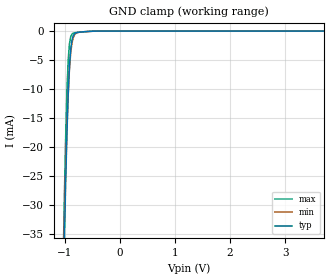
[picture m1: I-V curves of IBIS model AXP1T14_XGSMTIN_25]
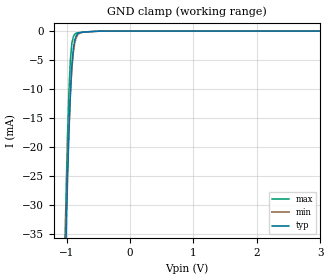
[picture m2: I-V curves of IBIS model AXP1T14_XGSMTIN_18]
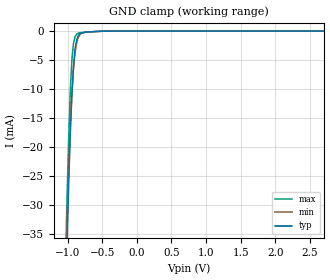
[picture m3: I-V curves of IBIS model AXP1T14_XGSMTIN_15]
| NXP Semiconductors
| Logic Products Group
| IBIS model of 74AXP1T14
| DUAL SUPPLY SCHMITT TRIGGER INVERTER
|[Packages]:
|[Package1]: SC88A  (GW) 5-pins Package
|[Package2]: X2SON5 (GX) 5-pins package
|[Package3]: XSON6  (GM) 6-pins package
|[Package4]: XSON6  (GN) 6-pins Package
|[Package5]: XSON6  (GS) 6-pins package
[IBIS Ver]   3.2
[File Name]   axp1t14.ibs
[File Rev]   1.0
[Date]   26-Apr-2016
[Source]   File created from simulations by LPG
   NXP Semiconductors Nijmegen
[Notes]   V1.0   Ibis model.
   Revision History
   Version Date   Author/ Description
   Editor
   1.0   May 2016   TJ   Initial model
   Remarks: - The Power Clamp curves have been omitted since there
   is no power clamp diode.
   - Non-monotonic sections below 0V in pulldown and pullup
   curves have been removed (if any).
   - ibischk V5.1.4 used
[Disclaimer]
    NXP Semiconductors warrants and represents that the IBIS model
    identified herein is owned by NXP Semiconductors (NXP). The
    model provided is not warranted as fully representing all of the
    operating characteristics and specifications of the semiconductor
    products to which the model relates.  Moreover, unless there is a
    signed, written agreement to the contrary, this IBIS model is
    furnished on an "as is" basis without support or warranty of any
    kind, either expressed or implied, regarding the use thereof, and
    NXP specifically disclaims all implied warranties of
    merchantability and fitness of the model for any purpose.
    NXP does not assume any liability arising out of the application
    or use of this IBIS model including infringement of patents and
    copyrights, nor does NXP convey any license under its patents and
    copyrights or the rights of others.
    NXP provides IBIS models as a service to our customers. You and
    your company shall not distribute, convey, sell, or give these models
    to anyone else without receiving prior written permission from
    NXP.
    NXP reserves the right to make changes without notice to these
    IBIS models to improve reliability, function, or design.
    Please be aware that your receipt and subsequent use of the IBIS
    information provided shall serve as acceptance of the terms and
    conditions of this agreement.  If you do not accept these terms,
    you should return or destroy the IBIS models and any other
    accompanying information immediately.
[Copyright]
   (C) Copyright 2016 NXP Semiconductors
   All rights reserved
|   Info for  SC88A (GW) 5-pin Package
[Component]   74AXP1T14_GW
[Manufacturer]   NXP Semiconductors
[package]
|   typ   min   max
R_pkg 3.8923E-02 2.5367E-02 5.7305E-02
L_pkg 8.4930E-10 6.4086E-10 1.1269E-09
C_pkg 1.7760E-13 1.1980E-13 3.2826E-13
[Pin] signal_name   model_name   R_pin   L_pin   C_pin
   1   VCCI   POWER 2.9284E-02 7.0593E-10 3.2826E-13
   2   A   AXP1T14_XGSMTIN 2.5367E-02 6.4086E-10 1.4427E-13
   3   GND   GND 4.9327E-02 1.0053E-09 1.4871E-13
   4   Y   AXP1T14_XTTRIOUTI 5.7305E-02 1.1269E-09 1.4699E-13
   5   VCCO   POWER 3.3333E-02 7.6759E-10 1.1980E-13
|   Info for  X2SON5 (GX) 5-pins package
[Component]   74AXP1T14_GX
[Manufacturer]   NXP Semiconductors
[Package]
|   Typ   Min   Max
R_pkg   1.325E-01   8.284E-02   1.477E-01
L_pkg   1.327E-09   1.267E-09   1.371E-09
C_pkg   2.121E-13   1.698E-13   3.286E-13
[Pin] signal_name   model_name   R_pin   L_pin   C_pin
   1   VCCI   POWER 1.345E-01 1.267E-09 1.698E-13
   2   A   AXP1T14_XGSMTIN 1.477E-01 1.371E-09 1.827E-13
   3   GND   GND 1.426E-01 1.300E-09 3.286E-13
   4   Y   AXP1T14_XTTRIOUTI 1.461E-01 1.350E-09 1.766E-13
   5   VCCO   POWER 1.411E-01 1.313E-09 1.721E-13
|   Info for  XSON6 (GM) 6-pins package
[Component]   74AXP1T14_GM
[Manufacturer]   NXP Semiconductors
[Package]
|   Typ   Min   Max
R_pkg   3.997E-02   3.996E-02   3.998E-02
L_pkg   6.173E-10   6.152E-10   6.184E-10
C_pkg   1.884E-13   1.795E-13   2.057E-13
[Pin] signal_name   model_name   R_pin   L_pin   C_pin
   1   VCCI   POWER 3.997E-02 6.184E-10 1.801E-13
   2   A   AXP1T14_XGSMTIN 3.996E-02 6.152E-10 2.057E-13
   3   GND   GND 3.997E-02 6.182E-10 1.795E-13
   4   Y   AXP1T14_XTTRIOUTI 3.998E-02 6.184E-10 1.795E-13
   5   NC   NC 3.997E-02 6.154E-10 2.057E-13
   6   VCCO   POWER 3.997E-02 6.179E-10 1.798E-13
|   Info for  XSON6 (GN) 6-pins Package
[Component]   74AXP1T14_GN
[Manufacturer]   NXP Semiconductors
[Package]
|   Typ   Min   Max
R_pkg   3.802E-02   3.801E-02   3.803E-02
L_pkg   4.923E-10   4.902E-10   4.934E-10
C_pkg   1.861E-13   1.772E-13   2.035E-13
[Pin] signal_name   model_name   R_pin   L_pin   C_pin
   1   VCCI   POWER 3.802E-02 4.934E-10 1.778E-13
   2   A   AXP1T14_XGSMTIN 3.801E-02 4.902E-10 2.035E-13
   3   GND   GND 3.802E-02 4.932E-10 1.772E-13
   4   Y   AXP1T14_XTTRIOUTI 3.803E-02 4.934E-10 1.772E-13
   5   NC   NC 3.802E-02 4.904E-10 2.034E-13
   6   VCCO   POWER 3.802E-02 4.929E-10 1.775E-13
|   Info for  XSON6 (GS) 6-pins package
[Component]   74AXP1T14_GS
[Manufacturer]   NXP Semiconductors
[Package]
|   Typ   Min   Max
R_pkg   3.5879E-02   3.5869E-02   3.5886E-02
L_pkg   4.5703E-10   4.5658E-10   4.5769E-10
C_pkg   1.1638E-13   1.1080E-13   1.2708E-13
[Pin] signal_name   model_name   R_pin   L_pin   C_pin
   1   VCCI   POWER 3.5886E-02 4.5769E-10 1.1155E-13
   2   A   AXP1T14_XGSMTIN 3.5886E-02 4.5710E-10 1.2708E-13
   3   GND   GND 3.5877E-02 4.5721E-10 1.1080E-13
   4   Y   AXP1T14_XTTRIOUTI 3.5869E-02 4.5673E-10 1.1080E-13
   5   NC   NC 3.5878E-02 4.5658E-10 1.2704E-13
   6   VCCO   POWER 3.5879E-02 4.5686E-10 1.1098E-13
[Model Selector]   AXP1T14_XGSMTIN
AXP1T14_XGSMTIN_25   2.5V Vcc Schmitt-trigger input model
AXP1T14_XGSMTIN_18   1.8V Vcc Schmitt-trigger input model
AXP1T14_XGSMTIN_15   1.5V Vcc Schmitt-trigger input model
AXP1T14_XGSMTIN_12   1.2V Vcc Schmitt-trigger input model
AXP1T14_XGSMTIN_8   0.8V Vcc Schmitt-trigger input model
[Model Selector]   AXP1T14_XTTRIOUTI
AXP1T14_XTTRIOUTI_50   5.0V Vcc tri-state output translator, inverting
AXP1T14_XTTRIOUTI_33   3.3V Vcc tri-state output translator, inverting
AXP1T14_XTTRIOUTI_25   2.5V Vcc tri-state output translator, inverting
AXP1T14_XTTRIOUTI_18   1.8V Vcc tri-state output translator, inverting
AXP1T14_XTTRIOUTI_15   1.5V Vcc tri-state output translator, inverting
AXP1T14_XTTRIOUTI_12   1.2V Vcc tri-state output translator, inverting
| Models and submodels in the file (11): AXP1T14_XGSMTIN_25 (Input), AXP1T14_XGSMTIN_18 (Input), AXP1T14_XGSMTIN_15 (Input), AXP1T14_XGSMTIN_12 (Input), AXP1T14_XGSMTIN_8 (Input), AXP1T14_XTTRIOUTI_50 (Output), AXP1T14_XTTRIOUTI_33 (Output), AXP1T14_XTTRIOUTI_25 (Output), AXP1T14_XTTRIOUTI_18 (Output), AXP1T14_XTTRIOUTI_15 (Output), AXP1T14_XTTRIOUTI_12 (Output)
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| Remark: If your software does not support the Model Selector
|   Please comment out the lines of the Model Selector, which
|   contain the name of the Model, except the one you want to use.
|   Model AXP1T14_XGSMTIN_25
[Model]   AXP1T14_XGSMTIN_25
Model_type   Input
Vinl = 0.7V
Vinh = 1.7V
C_comp   0.2951pF   0.2741pF   0.3179pF
[Model Spec]
| Note: The input and output voltage ratings may be exceeded if the input and
|   output current ratings are observed (please refer to the data sheet)
|   Subparameter   typ   min   max
| Hysteresis
Vinh+   1.7   1.7   1.7   | Overrides the
Vinh-   0.9   0.9   0.9   | thresholds
Vinl+   1.5   1.5   1.5
Vinl-   0.7   0.7   0.7
| Overshoot
S_overshoot_high   2.75   2.75   2.75
S_overshoot_low   -0.5   -0.5   -0.5
D_overshoot_high   3.3   3.3   3.3
D_overshoot_low   -0.95   -0.9   -1.0
D_overshoot_time   3n   3n   3n
|Ambient temperature:   25   85   -40
[Temperature Range]   30   90   -35
[Voltage Range]   2.5   2.3   2.7
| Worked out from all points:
|   GND clamp passes 1 mA (typ) near -0.85 V on its own axis
|Process Range   nominal   slow   fast
[GND_clamp]
|   voltage   I(typ)   I(min)   I(max)
-2.75V    -1.14A     -1.056A    -1.22A
-1.031V   -46.98mA   -42.1mA    -39.97mA
-1.008V   -36.19mA   -32.68mA   -28.49mA
-985.4mV  -26.37mA   -24.2mA    -18.44mA
-962.5mV  -17.85mA   -16.89mA   -10.45mA
-939.6mV  -11.01mA   -10.99mA   -5.054mA
-916.7mV  -6.142mA   -6.653mA   -2.184mA
-893.8mV  -3.146mA   -3.785mA   -973.2uA
-847.9mV  -817.1uA   -1.152mA   -364.2uA
-756.2mV  -211.8uA   -232.8uA   -210.2uA
-412.5mV  -4.391uA   -7.311uA   -1.99uA
5.5V      0A         0A         0A
|   Model AXP1T14_XGSMTIN_18
[Model]   AXP1T14_XGSMTIN_18
Model_type   Input
Vinl = 0.495V
Vinh = 1.365V
C_comp   0.3021pF   0.2792pF   0.3269pF
[Model Spec]
| Note: The input and output voltage ratings may be exceeded if the input and
|   output current ratings are observed (please refer to the data sheet)
|   Subparameter   typ   min   max
| Hysteresis
Vinh+   1.260   1.155   1.365   | Overrides the
Vinh-   0.72   0.66   0.78   | thresholds
Vinl+   1.08   0.99   1.17
Vinl-   0.540   0.495   0.585
| Overshoot
S_overshoot_high   2.75   2.75   2.75
S_overshoot_low   -0.5   -0.5   -0.5
D_overshoot_high   3.3   3.3   3.3
D_overshoot_low   -0.95   -0.9   -1.0
D_overshoot_time   3n   3n   3n
|Ambient temperature:   25   85   -40
[Temperature Range]   30   90   -35
[Voltage Range]   1.8   1.65   1.95
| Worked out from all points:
|   GND clamp passes 1 mA (typ) near -0.85 V on its own axis
|Process Range   nominal   slow   fast
[GND_clamp]
|   voltage   I(typ)   I(min)   I(max)
-2.75V    -1.14A     -1.056A    -1.22A
-1.031V   -46.98mA   -42.1mA    -39.97mA
-1.008V   -36.19mA   -32.68mA   -28.49mA
-985.4mV  -26.37mA   -24.2mA    -18.44mA
-962.5mV  -17.85mA   -16.89mA   -10.45mA
-939.6mV  -11.01mA   -10.99mA   -5.054mA
-916.7mV  -6.142mA   -6.653mA   -2.184mA
-893.8mV  -3.146mA   -3.785mA   -973.2uA
-847.9mV  -817.1uA   -1.152mA   -364.2uA
-756.2mV  -211.8uA   -232.8uA   -210.2uA
-412.5mV  -4.391uA   -7.311uA   -1.99uA
5.5V      0A         0A         0A
|   Model AXP1T14_XGSMTIN_15
[Model]   AXP1T14_XGSMTIN_15
Model_type   Input
Vinl = 0.42V
Vinh = 1.12V
C_comp   0.3052pF   0.2797pF   0.3315pF
[Model Spec]
| Note: The input and output voltage ratings may be exceeded if the input and
|   output current ratings are observed (please refer to the data sheet)
|   Subparameter   typ   min   max
| Hysteresis
Vinh+   1.05   0.98   1.12  | Overrides the
Vinh-   0.60   0.56   0.64  | thresholds
Vinl+   0.90   0.84   0.96
Vinl-   0.45   0.42   0.48
| Overshoot
S_overshoot_high   2.75   2.75   2.75
S_overshoot_low   -0.5   -0.5   -0.5
D_overshoot_high   3.3   3.3   3.3
D_overshoot_low   -0.95   -0.9   -1.0
D_overshoot_time   3n   3n   3n
|Ambient temperature:   25   85   -40
[Temperature Range]   30   90   -35
[Voltage Range]   1.5   1.4   1.6
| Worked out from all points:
|   GND clamp passes 1 mA (typ) near -0.85 V on its own axis
|Process Range   nominal   slow   fast
[GND_clamp]
|   voltage   I(typ)   I(min)   I(max)
-2.75V    -1.14A     -1.056A    -1.22A
-1.031V   -46.98mA   -42.1mA    -39.97mA
-1.008V   -36.19mA   -32.68mA   -28.49mA
-985.4mV  -26.37mA   -24.2mA    -18.44mA
-962.5mV  -17.85mA   -16.89mA   -10.45mA
-939.6mV  -11.01mA   -10.99mA   -5.054mA
-916.7mV  -6.142mA   -6.653mA   -2.184mA
-893.8mV  -3.146mA   -3.785mA   -973.2uA
-847.9mV  -817.1uA   -1.152mA   -364.2uA
-756.2mV  -211.8uA   -232.8uA   -210.2uA
-412.5mV  -4.391uA   -7.311uA   -1.99uA
5.5V      0A         0A         0A
